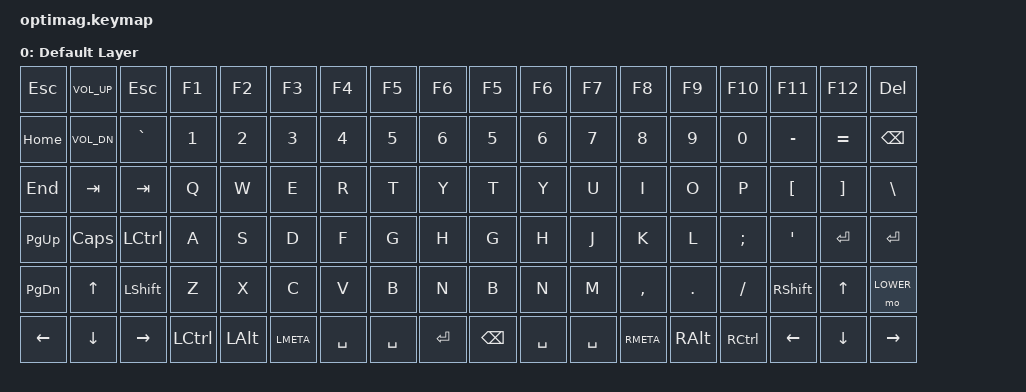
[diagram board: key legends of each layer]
/*
 * Copyright (c) 2020 The ZMK Contributors
 *
 * SPDX-License-Identifier: MIT
 */

#include <behaviors.dtsi>
#include <dt-bindings/zmk/keys.h>
#include <dt-bindings/zmk/bt.h>
#include <dt-bindings/zmk/outputs.h>
#include <dt-bindings/zmk/ext_power.h>
#include <dt-bindings/zmk/rgb.h>

#define DEFAULT 0
#define LOWER   1

/ {
    behaviors {
        td0: tap_dance_0 {
            compatible = "zmk,behavior-tap-dance";
            #binding-cells = <0>;
            tapping-term-ms = <200>;
            bindings = <&kp F1>, <&bt BT_CLR>;
        };
        td1: tap_dance_1 {
            compatible = "zmk,behavior-tap-dance";
            #binding-cells = <0>;
            tapping-term-ms = <200>;
            bindings = <&kp F2>, <&bt BT_SEL 0>;
        };
        td2: tap_dance_2 {
            compatible = "zmk,behavior-tap-dance";
            #binding-cells = <0>;
            tapping-term-ms = <200>;
            bindings = <&kp F3>, <&bt BT_SEL 1>;
        };
        td3: tap_dance_3 {
            compatible = "zmk,behavior-tap-dance";
            #binding-cells = <0>;
            tapping-term-ms = <200>;
            bindings = <&kp F4>, <&bt BT_CLR>;
        };
        td4: tap_dance_4 {
            compatible = "zmk,behavior-tap-dance";
            #binding-cells = <0>;
            tapping-term-ms = <200>;
            bindings = <&kp F5>, <&studio_unlock>;
        };
    };

    keymap {
        compatible = "zmk,keymap";

        default_layer {
            display-name = "Default Layer";
            // | Esc   | Vol Up | Esc   | F1   | F2  | F3  | F4  | F5  | F6    | F5     | F6  | F7  | F8  | F9  | F10  | F11   | F12   | Del    |
            // | Home  | Vol Dn | `     | 1    | 2   | 3   | 4   | 5   | 6     | 5      | 6   | 7   | 8   | 9   | 0    | -     | =     | Bk Spc |
            // | End   | Tab    | Tab   | Q    | W   | E   | R   | T   | Y     | T      | Y   | U   | I   | O   | P    | [     | ]     | \      |
            // | Pg Up | Caps   | Ctrl  | A    | S   | D   | F   | G   | H     | G      | H   | J   | K   | L   | ;    | '     | Enter | Enter  |
            // | Pg Dn | Up     | Shift | Z    | X   | C   | V   | B   | N     | B      | N   | M   | ,   | .   | /    | Shift | Up    |        |
            // | Left  | Dn     | Right | Ctrl | Alt | Win | Spc | Spc | Enter | Bk Spc | Spc | Spc | Win | Alt | Ctrl | Left  | Dn    | Right  |
            bindings = <
            &kp ESC   &kp C_VOL_UP &kp ESC   &kp F1    &kp F2   &kp F3    &kp F4    &kp F5    &kp F6    &kp F5     &kp F6    &kp F7    &kp F8    &kp F9   &kp F10   &kp F11   &kp F12   &kp DEL
            &kp HOME  &kp C_VOL_DN &kp GRAVE &kp N1    &kp N2   &kp N3    &kp N4    &kp N5    &kp N6    &kp N5     &kp N6    &kp N7    &kp N8    &kp N9   &kp N0    &kp MINUS &kp EQUAL &kp BSPC
            &kp END   &kp TAB      &kp TAB   &kp Q     &kp W    &kp E     &kp R     &kp T     &kp Y     &kp T      &kp Y     &kp U     &kp I     &kp O    &kp P     &kp LBKT  &kp RBKT  &kp BSLH
            &kp PG_UP &kp CAPS     &kp LCTRL &kp A     &kp S    &kp D     &kp F     &kp G     &kp H     &kp G      &kp H     &kp J     &kp K     &kp L    &kp SEMI  &kp APOS  &kp ENTER &kp ENTER
            &kp PG_DN &kp UP       &kp LSHFT &kp Z     &kp X    &kp C     &kp V     &kp B     &kp N     &kp B      &kp N     &kp M     &kp COMMA &kp DOT  &kp SLASH &kp RSHFT &kp UP    &mo LOWER
            &kp LEFT  &kp DOWN     &kp RIGHT &kp LCTRL &kp LALT &kp LMETA &kp SPACE &kp SPACE &kp ENTER &kp BSPC   &kp SPACE &kp SPACE &kp RMETA &kp RALT &kp RCTRL &kp LEFT  &kp DOWN  &kp RIGHT
            >;
        };
    };
};
